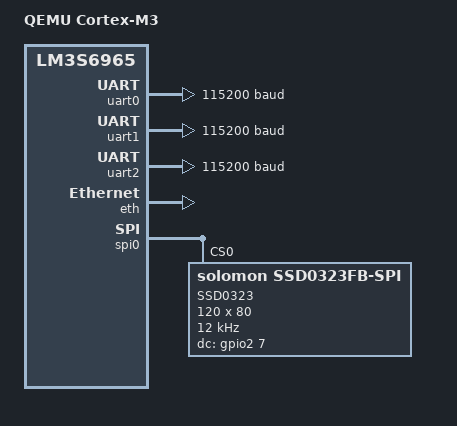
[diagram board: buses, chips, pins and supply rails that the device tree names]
/dts-v1/;

#include <ti/lm3s6965.dtsi>

/ {
	model = "QEMU Cortex-M3";
	compatible = "ti,lm3s6965evb-qemu", "ti,lm3s6965";

	aliases {
		uart-0 = &uart0;
		uart-1 = &uart1;
		uart-2 = &uart2;
	};

	chosen {
		zephyr,sram = &sram0;
		zephyr,flash = &flash0;
		zephyr,console = &uart0;
		zephyr,bt-uart = &uart2;
		zephyr,uart-pipe = &uart1;
		zephyr,bt-mon-uart = &uart2;
	};
};

&uart0 {
	status = "ok";
	current-speed = <115200>;
};

&uart1 {
	status = "ok";
	current-speed = <115200>;
};

&uart2 {
	status = "ok";
	current-speed = <115200>;
};

&eth {
	status = "ok";
};

&spi0 {
	status = "ok";

	ssd0323fb@0 {
	compatible = "solomon,ssd0323fb-spi";
	spi-max-frequency = <12000>;
	label = "SSD0323";
	reg = <0>;
	width = <120>;
	height = <80>;
	dc-gpios = <&gpio2 7 0>;
	cs-gpios = <&gpio0 3 0>;
	};
};

&gpio0 {
       status = "ok";
};

&gpio1 {
       status = "ok";
};

&gpio2 {
       status = "ok";
};

&gpio3 {
       status = "ok";
};

&gpio4 {
       status = "ok";
};

&gpio5 {
       status = "ok";
};

&gpio6 {
       status = "ok";
};
